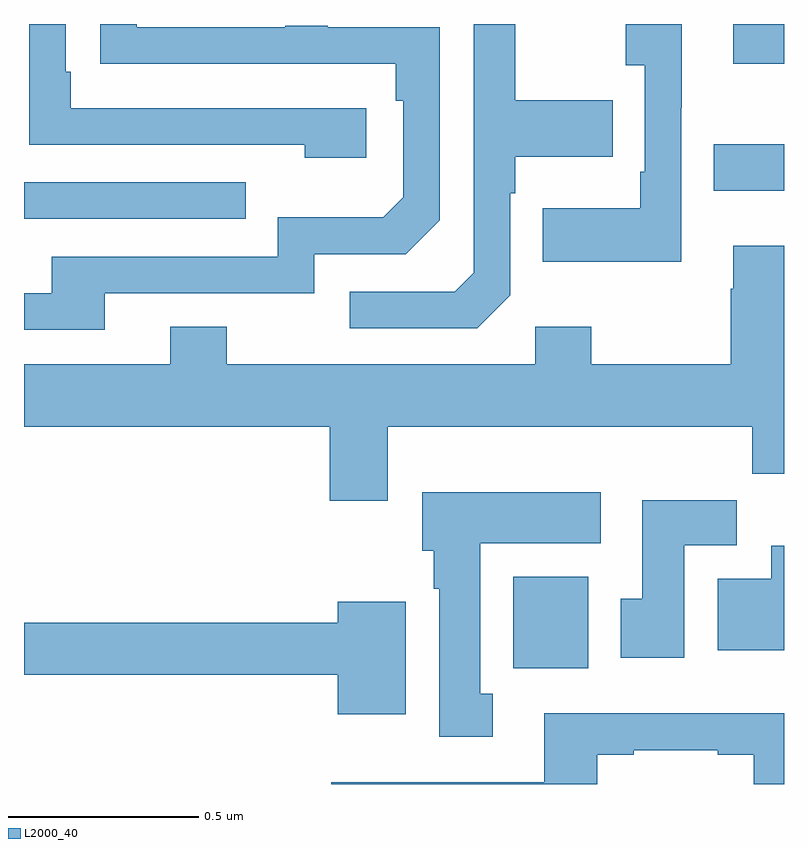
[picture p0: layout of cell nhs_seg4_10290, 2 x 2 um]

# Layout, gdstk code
import gdstk
lib = gdstk.Library(unit=1e-6, precision=1e-09)
def R(c, l, rs):  # rectangles x0, y0, x1, y1
    for r in rs: c.add(gdstk.rectangle(r[:2], r[2:], *l))
def P(c, l, *ps):  # polygons
    for p in ps: c.add(gdstk.Polygon(p, *l))
L2000_40 = (2000, 40)

nhs_seg4_10290 = lib.new_cell('nhs_seg4_10290')
R(nhs_seg4_10290, L2000_40, [(239.288,776.204,239.485,776.446), (238,777.387,238.583,777.483), (239.815,777.461,240,777.583), (239.867,777.795,240,777.9)])
P(nhs_seg4_10290, L2000_40, [(238.213,777.192),(238.764,777.192),(238.764,777.294),(239.004,777.294),(239.094,777.384),(239.094,777.891),(238.799,777.891),(238.799,777.896),(238.687,777.896),(238.687,777.891),(238.297,777.891),(238.297,777.9),(238.201,777.9),(238.201,777.796),(238.303,777.796),(238.303,777.795),(238.978,777.795),(238.978,777.698),(238.998,777.698),(238.998,777.444),(238.945,777.391),(238.668,777.391),(238.668,777.288),(238.073,777.288),(238.073,777.192),(238,777.192),(238,777.096),(238.213,777.096)],
  [(239.73,777.679),(239.731,777.679),(239.731,777.9),(239.583,777.9),(239.583,777.791),(239.634,777.791),(239.634,777.511),(239.622,777.511),(239.622,777.415),(239.365,777.415),(239.365,777.275),(239.73,777.275)],
  [(239.28,777.186),(239.28,777.455),(239.293,777.455),(239.293,777.551),(239.549,777.551),(239.549,777.699),(239.293,777.699),(239.293,777.9),(239.184,777.9),(239.184,777.246),(239.133,777.195),(238.857,777.195),(238.857,777.099),(239.193,777.099)],
  [(238.9,777.678),(238.123,777.678),(238.123,777.775),(238.11,777.775),(238.11,777.9),(238.014,777.9),(238.014,777.582),(238.739,777.582),(238.739,777.548),(238.9,777.548)],
  [(238.957,776.84),(239.917,776.84),(239.917,776.716),(240,776.716),(240,777.316),(239.867,777.316),(239.867,777.203),(239.86,777.203),(239.86,777.004),(239.493,777.004),(239.493,777.103),(239.346,777.103),(239.346,777.004),(238.533,777.004),(238.533,777.103),(238.385,777.103),(238.385,777.004),(238,777.004),(238,776.84),(238.805,776.84),(238.805,776.646),(238.957,776.646)],
  [(239.233,776.138),(239.2,776.138),(239.2,776.534),(239.518,776.534),(239.518,776.668),(239.048,776.668),(239.048,776.514),(239.078,776.514),(239.078,776.414),(239.093,776.414),(239.093,776.025),(239.233,776.025)],
  [(239.737,776.528),(239.876,776.528),(239.876,776.647),(239.627,776.647),(239.627,776.388),(239.57,776.388),(239.57,776.232),(239.737,776.232)],
  [(240,776.527),(239.966,776.527),(239.966,776.44),(239.825,776.44),(239.825,776.252),(240,776.252)],
  [(239.005,776.38),(238.826,776.38),(238.826,776.324),(238,776.324),(238,776.188),(238.826,776.188),(238.826,776.084),(239.005,776.084)],
  [(239.509,775.977),(239.605,775.977),(239.605,775.989),(239.825,775.989),(239.825,775.977),(239.921,775.977),(239.921,775.9),(240,775.9),(240,776.086),(239.369,776.086),(239.369,775.905),(238.809,775.905),(238.809,775.9),(239.509,775.9)])

lib.write_gds('nhs_seg4_10290.gds')
